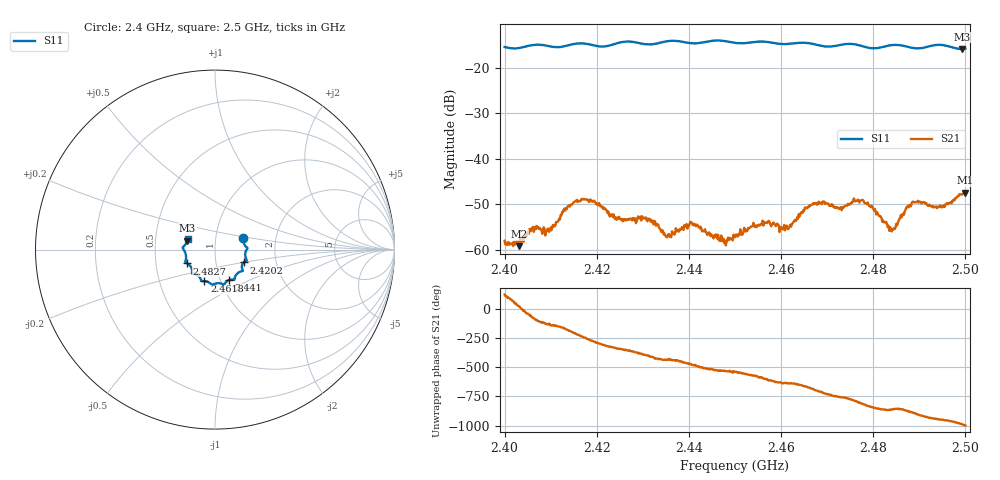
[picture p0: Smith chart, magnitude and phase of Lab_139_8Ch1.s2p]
# Hz S RI R 50
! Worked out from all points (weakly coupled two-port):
!   601 points, 2.4 GHz to 2.5 GHz, reference 50 ohm
!   highest |S21| = -47.42 dB at 2.5 GHz (marker M1); lowest = -59.2 dB at 2.4032 GHz (marker M2)
!   lowest |S11| = -15.8 dB at 2.4993 GHz (marker M3), VSWR 1.39, Z = 36.5 + j3.8 ohm
!   |S11| at or under -10 dB: start of sweep to end of sweep
!   S12 and S22 are empty: the file has one direction only
!   S11 on the Smith chart (normalised r, x): 2.4 GHz: 1.36, +0.18; 2.4202 GHz: 1.36, -0.20; 2.441 GHz: 1.10, -0.39; 2.4618 GHz: 0.84, -0.30; 2.4827 GHz: 0.72, -0.11; 2.5 GHz: 0.73, +0.09
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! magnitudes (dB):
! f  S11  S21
! 2.4 GHz  -15.4  -58.1
! 2.4032 GHz  -15.6  -59.2
! 2.4058 GHz  -15.0  -55.3
! 2.4093 GHz  -15.1  -55.4
! 2.4167 GHz  -14.5  -48.9
! 2.4202 GHz  -15.2  -50.2
! 2.4243 GHz  -14.5  -53.4
! 2.4333 GHz  -14.5  -54.5
! 2.4357 GHz  -14.0  -56.6
! 2.441 GHz  -14.6  -54.6
! 2.4478 GHz  -14.1  -58.0
! 2.45 GHz  -14.4  -57.2
! 2.4568 GHz  -14.2  -54.0
! 2.4618 GHz  -14.7  -54.8
! 2.4667 GHz  -14.6  -50.1
! 2.4777 GHz  -15.2  -49.0
! 2.4827 GHz  -15.2  -53.9
! 2.4833 GHz  -15.0  -54.7
! 2.4888 GHz  -15.6  -49.5
! 2.495 GHz  -14.9  -50.7
! 2.4993 GHz  -15.8  -47.9
! 2.5 GHz  -15.7  -47.4
